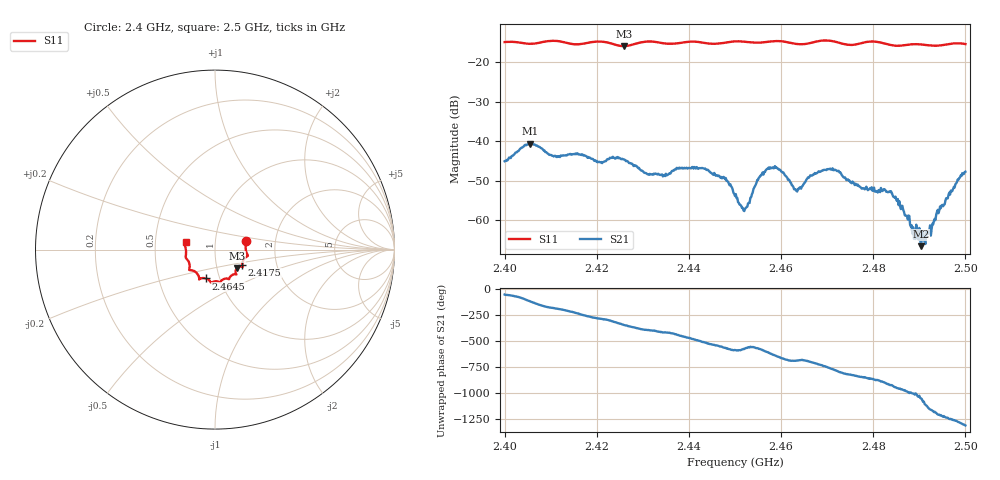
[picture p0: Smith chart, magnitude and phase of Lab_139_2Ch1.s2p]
# Hz S RI R 50
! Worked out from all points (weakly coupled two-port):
!   601 points, 2.4 GHz to 2.5 GHz, reference 50 ohm
!   highest |S21| = -40.57 dB at 2.4055 GHz (marker M1); lowest = -66.5 dB at 2.4903 GHz (marker M2)
!   lowest |S11| = -15.9 dB at 2.4258 GHz (marker M3), VSWR 1.38, Z = 62.3 - j13.2 ohm
!   |S11| at or under -10 dB: start of sweep to end of sweep
!   S12 and S22 are empty: the file has one direction only
!   S11 on the Smith chart (normalised r, x): 2.4 GHz: 1.41, +0.14; 2.4175 GHz: 1.34, -0.23; 2.4645 GHz: 0.86, -0.28; 2.5 GHz: 0.72, +0.06
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2.4e9  0.1727 0.049  0.00304 -0.00471  0 0  0 0
2.4055e9  0.1707 0.00781  -0.00496 -0.00794  0 0  0 0
2.410833e9  0.183 -0.0349  -0.00648 0.00101  0 0  0 0
2.416667e9  0.1529 -0.074  -0.00247 0.00624  0 0  0 0
2.4175e9  0.1518 -0.0834  -0.0013 0.00647  0 0  0 0
2.425833e9  0.1217 -0.1033  0.00578 0.00125  0 0  0 0
2.433333e9  0.1131 -0.1372  0.0024 -0.00307  0 0  0 0
2.443167e9  0.0689 -0.1621  -0.00398 -0.00214  0 0  0 0
2.448e9  0.0352 -0.1735  -0.00297 0.00173  0 0  0 0
2.45e9  0.029 -0.181  -0.00137 0.00151  0 0  0 0
2.452167e9  0.0218 -0.1798  -0.00116 0.00078  0 0  0 0
2.455333e9  -0.00097 -0.1768  -0.00279 0.00217  0 0  0 0
2.458167e9  -0.0195 -0.1828  4.43e-05 0.00469  0 0  0 0
2.463e9  -0.0363 -0.1672  0.00219 0.00119  0 0  0 0
2.4645e9  -0.0516 -0.1606  0.00213 0.00163  0 0  0 0
2.466667e9  -0.0758 -0.1593  0.00356 0.000938  0 0  0 0
2.4715e9  -0.0879 -0.1605  0.00237 -0.00361  0 0  0 0
2.477667e9  -0.1326 -0.1153  -0.0016 -0.00198  0 0  0 0
2.483333e9  -0.1409 -0.0901  -0.00218 0.000724  0 0  0 0
2.490333e9  -0.1631 -0.0387  0.000416 0.000226  0 0  0 0
2.4915e9  -0.1619 -0.0303  0.000569 -0.000449  0 0  0 0
2.5e9  -0.164 0.0431  -0.00263 0.00319  0 0  0 0
